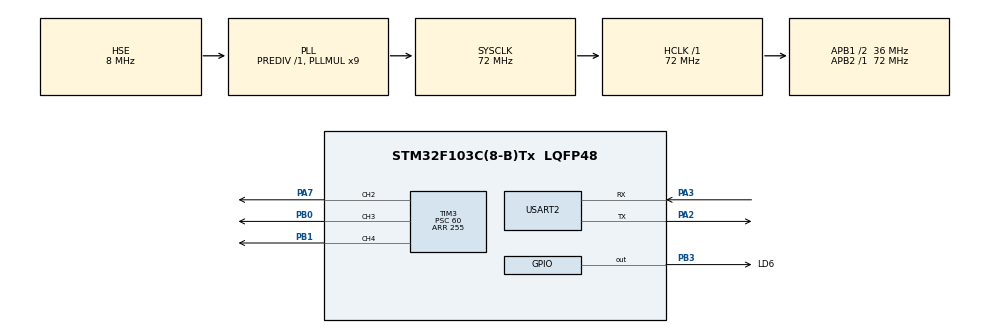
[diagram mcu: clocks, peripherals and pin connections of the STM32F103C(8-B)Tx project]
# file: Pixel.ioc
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Mcu.Family=STM32F1
Mcu.Name=STM32F103C(8-B)Tx
Mcu.Package=LQFP48
NVIC.PriorityGroup=NVIC_PRIORITYGROUP_4
NVIC.USART2_IRQn=true\:0\:0\:false\:false\:true\:true\:true\:true
PA13.Mode=Serial_Wire
PA13.Signal=SYS_JTMS-SWDIO
PA14.Mode=Serial_Wire
PA14.Signal=SYS_JTCK-SWCLK
PA2.Mode=Asynchronous
PA2.Signal=USART2_TX
PA3.Mode=Asynchronous
PA3.Signal=USART2_RX
PA7.Signal=S_TIM3_CH2
PB0.Signal=S_TIM3_CH3
PB1.Signal=S_TIM3_CH4
PB3.GPIO_Label=LD6
PB3.Signal=GPIO_Output
PD0-OSC_IN.Mode=HSE-External-Oscillator
PD0-OSC_IN.Signal=RCC_OSC_IN
PD1-OSC_OUT.Mode=HSE-External-Oscillator
PD1-OSC_OUT.Signal=RCC_OSC_OUT
ProjectManager.HeapSize=0x200
ProjectManager.StackSize=0x400
ProjectManager.TargetToolchain=MDK-ARM V5.32
RCC.AHBFreq_Value=72000000
RCC.APB1CLKDivider=RCC_HCLK_DIV2
RCC.APB1Freq_Value=36000000
RCC.APB1TimFreq_Value=72000000
RCC.APB2Freq_Value=72000000
RCC.APB2TimFreq_Value=72000000
RCC.HCLKFreq_Value=72000000
RCC.PLLMUL=RCC_PLL_MUL9
RCC.PLLSourceVirtual=RCC_PLLSOURCE_HSE
RCC.SYSCLKFreq_VALUE=72000000
RCC.SYSCLKSource=RCC_SYSCLKSOURCE_PLLCLK
RCC.USBFreq_Value=72000000
SH.S_TIM3_CH2.0=TIM3_CH2,PWM Generation2 CH2
SH.S_TIM3_CH3.0=TIM3_CH3,PWM Generation3 CH3
SH.S_TIM3_CH4.0=TIM3_CH4,PWM Generation4 CH4
TIM3.Channel-PWM\ Generation2\ CH2=TIM_CHANNEL_2
TIM3.Channel-PWM\ Generation3\ CH3=TIM_CHANNEL_3
TIM3.Channel-PWM\ Generation4\ CH4=TIM_CHANNEL_4
TIM3.Period=255
TIM3.Prescaler=60
USART2.VirtualMode=VM_ASYNC
VP_TIM3_VS_ClockSourceINT.Mode=Internal
board=custom

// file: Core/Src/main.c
/* USER CODE BEGIN Header */
/**
  ******************************************************************************
  * @file           : main.c
  * @brief          : Main program body
  ******************************************************************************
  * @attention
  *
  * Copyright (c) 2024 STMicroelectronics.
  * All rights reserved.
  *
  * This software is licensed under terms that can be found in the LICENSE file
  * in the root directory of this software component.
  * If no LICENSE file comes with this software, it is provided AS-IS.
  *
  ******************************************************************************
  */
/* USER CODE END Header */
#include "main.h"
#include "tim.h"
#include "usart.h"
#include "gpio.h"

/* USER CODE BEGIN Includes */
#include <string.h>
#include <stdlib.h>
/* USER CODE END Includes */

/* USER CODE BEGIN PV */
uint8_t received_request[3];
/* USER CODE END PV */

void SystemClock_Config(void);

int main(void)
{

  /* MCU Configuration--------------------------------------------------------*/

  /* Reset of all peripherals, Initializes the Flash interface and the Systick. */
  HAL_Init();

  /* Configure the system clock */
  SystemClock_Config();

  /* Initialize all configured peripherals */
  MX_GPIO_Init();
  MX_TIM3_Init();
  MX_USART2_UART_Init();
  /* USER CODE BEGIN 2 */
	HAL_TIM_PWM_Start(&htim3, TIM_CHANNEL_2);
	HAL_TIM_PWM_Start(&htim3, TIM_CHANNEL_3);
	HAL_TIM_PWM_Start(&htim3, TIM_CHANNEL_4);
	TIM3->CCR2 = 99;
	TIM3->CCR3 = 225;
	TIM3->CCR4 = 201;
	HAL_UART_Receive_IT(&huart2, (uint8_t *)received_request, 3);

  /* USER CODE END 2 */

  /* Infinite loop */
  while (1)
  {

  }
}

void SystemClock_Config(void)
{
  RCC_OscInitTypeDef RCC_OscInitStruct = {0};
  RCC_ClkInitTypeDef RCC_ClkInitStruct = {0};

  /** Initializes the RCC Oscillators according to the specified parameters
  * in the RCC_OscInitTypeDef structure.
  */
  RCC_OscInitStruct.OscillatorType = RCC_OSCILLATORTYPE_HSE;
  RCC_OscInitStruct.HSEState = RCC_HSE_ON;
  RCC_OscInitStruct.HSEPredivValue = RCC_HSE_PREDIV_DIV1;
  RCC_OscInitStruct.HSIState = RCC_HSI_ON;
  RCC_OscInitStruct.PLL.PLLState = RCC_PLL_ON;
  RCC_OscInitStruct.PLL.PLLSource = RCC_PLLSOURCE_HSE;
  RCC_OscInitStruct.PLL.PLLMUL = RCC_PLL_MUL9;
  if (HAL_RCC_OscConfig(&RCC_OscInitStruct) != HAL_OK)
  {
    Error_Handler();
  }

  /** Initializes the CPU, AHB and APB buses clocks
  */
  RCC_ClkInitStruct.ClockType = RCC_CLOCKTYPE_HCLK|RCC_CLOCKTYPE_SYSCLK
                              |RCC_CLOCKTYPE_PCLK1|RCC_CLOCKTYPE_PCLK2;
  RCC_ClkInitStruct.SYSCLKSource = RCC_SYSCLKSOURCE_PLLCLK;
  RCC_ClkInitStruct.AHBCLKDivider = RCC_SYSCLK_DIV1;
  RCC_ClkInitStruct.APB1CLKDivider = RCC_HCLK_DIV2;
  RCC_ClkInitStruct.APB2CLKDivider = RCC_HCLK_DIV1;

  if (HAL_RCC_ClockConfig(&RCC_ClkInitStruct, FLASH_LATENCY_2) != HAL_OK)
  {
    Error_Handler();
  }
}

/* USER CODE BEGIN 4 */
void HAL_UART_RxCpltCallback(UART_HandleTypeDef *huart){
	if (huart->Instance == USART2){
	  HAL_GPIO_WritePin(LD6_GPIO_Port,LD6_Pin,GPIO_PIN_SET);
		TIM3->CCR2 = received_request[1];
		TIM3->CCR3 = received_request[2];
		TIM3->CCR4 = received_request[0];
		HAL_UART_Receive_IT(&huart2, (uint8_t *)received_request, 3);
	}
}
/* USER CODE END 4 */

void Error_Handler(void)
{
  __disable_irq();
  while (1)
  {
  }
}
